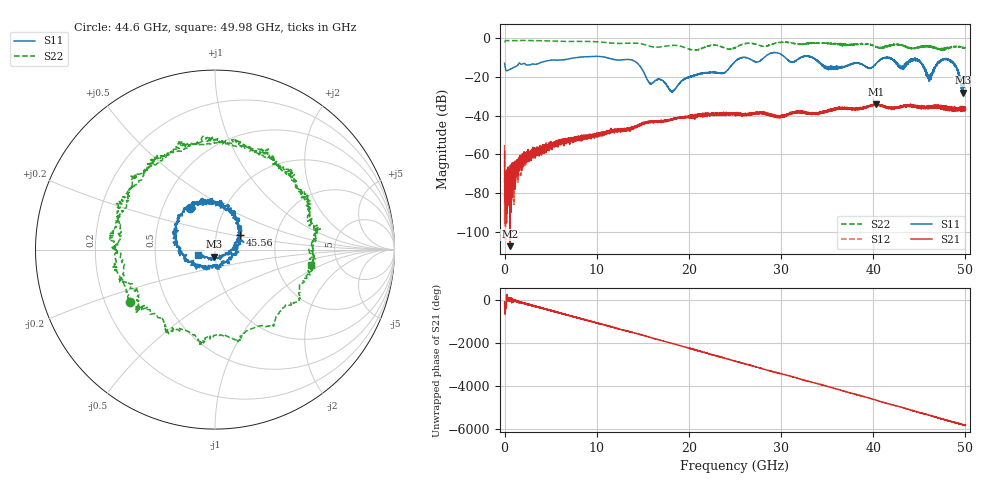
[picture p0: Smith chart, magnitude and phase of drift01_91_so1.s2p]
!Created with skrf (http://scikit-rf.org).
# Hz S RI R 50.0
!freq ReS11 ImS11 ReS21 ImS21 ReS12 ImS12 ReS22 ImS22
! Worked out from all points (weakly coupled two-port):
!   10001 points, 300 kHz to 50 GHz, reference 50 ohm
!   highest |S21| = -34.08 dB at 40.35 GHz (marker M1); lowest = -107.2 dB at 560.3 MHz (marker M2)
!   lowest |S11| = -28.2 dB at 49.72 GHz (marker M3), VSWR 1.08, Z = 49.3 - j3.82 ohm
!   |S11| at or under -10 dB: start of sweep to 8.07 GHz; 10.9 GHz to 25.83 GHz (14.93 GHz wide, 81.3 % of centre); 33.36 GHz to end of sweep (the widest 3 of 16)
!   |S22| runs from -6.5 to -1.4 dB; largest |S21 - S12| = 0.0037
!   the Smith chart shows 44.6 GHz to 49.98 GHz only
!   S11 on the Smith chart (normalised r, x): 44.6 GHz: 0.68, +0.34; 45.56 GHz: 1.31, +0.22; 49.98 GHz: 0.83, -0.05
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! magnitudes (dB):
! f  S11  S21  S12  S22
! 300 kHz  -13.1  -58.3  -55.1  -2.1
! 255.3 MHz  -16.9  -72.3  -77.1  -1.4
! 560.3 MHz  -16.2  -107.2  -70.8  -1.4
! 3.035 GHz  -13.5  -58.1  -60.0  -1.4
! 8.335 GHz  -9.9  -51.7  -53.0  -1.8
! 13.8 GHz  -11.4  -46.3  -46.6  -2.7
! 15.74 GHz  -23.4  -43.2  -43.6  -4.2
! 16.67 GHz  -21.3  -43.1  -43.1  -4.8
! 18.23 GHz  -27.4  -41.8  -42.0  -3.9
! 25 GHz  -12.2  -39.9  -39.1  -5.1
! 33.34 GHz  -10.0  -39.0  -38.8  -2.7
! 35.23 GHz  -15.1  -37.4  -37.5  -2.9
! 40.35 GHz  -13.2  -34.1  -34.1  -4.7
! 41.67 GHz  -10.3  -35.8  -36.1  -4.1
! 43.08 GHz  -14.8  -35.1  -35.5  -3.8
! 44.6 GHz  -11.3  -35.6  -35.3  -5.1
! 45.56 GHz  -15.8  -36.0  -35.9  -4.5
! 46.13 GHz  -20.4  -35.6  -35.7  -4.5
! 48.16 GHz  -11.2  -36.4  -36.3  -5.5
! 49.72 GHz  -28.2  -37.0  -36.2  -5.0
! 49.98 GHz  -20.3  -36.7  -36.4  -5.3
! 50 GHz  -21.2  -36.1  -36.2  -5.4
